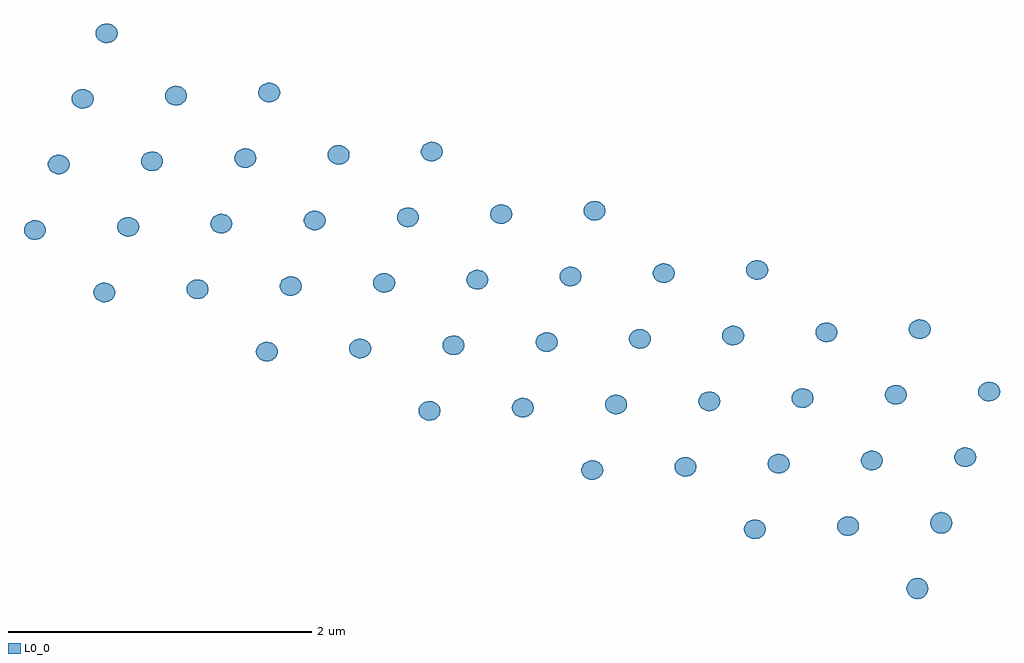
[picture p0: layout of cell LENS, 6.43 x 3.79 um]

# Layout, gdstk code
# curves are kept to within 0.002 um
import gdstk
lib = gdstk.Library(unit=1e-6, precision=1e-09)
def P(c, l, *ps):  # polygons
    for p in ps: c.add(gdstk.Polygon(p, *l))
L0_0 = (0, 0)

circle = lib.new_cell('CIRCLE')
P(circle, L0_0, [(0.072,0),(0.068,0.022),(0.058,0.042),(0.042,0.058),(0.022,0.068),(0,0.072),(-0.022,0.068),(-0.042,0.058),(-0.058,0.042),(-0.068,0.022),(-0.072,0),(-0.068,-0.022),(-0.058,-0.042),(-0.042,-0.058),(-0.022,-0.068),(0,-0.072),(0.022,-0.068),(0.042,-0.058),(0.058,-0.042),(0.068,-0.022)])

oval = lib.new_cell('OVAL')
P(oval, L0_0, [(0.072,0),(0.066,0.026),(0.049,0.047),(0.031,0.058),(0.002,0.064),(-0.027,0.059),(-0.052,0.045),(-0.067,0.023),(-0.072,0.003),(-0.07,-0.016),(-0.052,-0.045),(-0.027,-0.059),(-0.006,-0.064),(0.031,-0.058),(0.049,-0.047),(0.066,-0.026)])

lens = lib.new_cell('LENS')
lens.add(gdstk.Reference(circle, (0,0)))
lens.add(gdstk.Reference(oval, (-1.071,0.39)))
lens.add(gdstk.Reference(oval, (-2.142,0.78)))
lens.add(gdstk.Reference(oval, (-3.214,1.17)))
lens.add(gdstk.Reference(oval, (-4.285,1.56)))
lens.add(gdstk.Reference(oval, (-5.356,1.95)))
lens.add(gdstk.Reference(circle, (0.157,0.432)))
lens.add(gdstk.Reference(oval, (-0.914,0.822)))
lens.add(gdstk.Reference(oval, (-1.985,1.212)))
lens.add(gdstk.Reference(oval, (-3.056,1.602)))
lens.add(gdstk.Reference(oval, (-4.128,1.992)))
lens.add(gdstk.Reference(oval, (-5.199,2.382)))
lens.add(gdstk.Reference(oval, (0.315,0.865)))
lens.add(gdstk.Reference(oval, (-0.757,1.254)))
lens.add(gdstk.Reference(oval, (-1.828,1.644)))
lens.add(gdstk.Reference(oval, (-2.899,2.034)))
lens.add(gdstk.Reference(oval, (-3.97,2.424)))
lens.add(gdstk.Reference(oval, (-5.042,2.814)))
lens.add(gdstk.Reference(oval, (0.472,1.297)))
lens.add(gdstk.Reference(oval, (-0.599,1.687)))
lens.add(gdstk.Reference(oval, (-1.671,2.077)))
lens.add(gdstk.Reference(oval, (-2.742,2.466)))
lens.add(gdstk.Reference(oval, (-3.813,2.856)))
lens.add(gdstk.Reference(oval, (-4.884,3.246)))
lens.add(gdstk.Reference(oval, (-0.457,0.411)))
lens.add(gdstk.Reference(oval, (-1.528,0.801)))
lens.add(gdstk.Reference(oval, (-2.599,1.191)))
lens.add(gdstk.Reference(oval, (-3.671,1.581)))
lens.add(gdstk.Reference(oval, (-4.742,1.971)))
lens.add(gdstk.Reference(oval, (-5.813,2.361)))
lens.add(gdstk.Reference(oval, (-0.3,0.843)))
lens.add(gdstk.Reference(oval, (-1.371,1.233)))
lens.add(gdstk.Reference(oval, (-2.442,1.623)))
lens.add(gdstk.Reference(oval, (-3.513,2.013)))
lens.add(gdstk.Reference(oval, (-4.585,2.403)))
lens.add(gdstk.Reference(oval, (-5.656,2.793)))
lens.add(gdstk.Reference(oval, (-0.142,1.276)))
lens.add(gdstk.Reference(oval, (-1.214,1.666)))
lens.add(gdstk.Reference(oval, (-2.285,2.055)))
lens.add(gdstk.Reference(oval, (-3.356,2.445)))
lens.add(gdstk.Reference(oval, (-4.427,2.835)))
lens.add(gdstk.Reference(oval, (-5.499,3.225)))
lens.add(gdstk.Reference(oval, (0.015,1.708)))
lens.add(gdstk.Reference(oval, (-1.056,2.098)))
lens.add(gdstk.Reference(oval, (-2.127,2.488)))
lens.add(gdstk.Reference(oval, (-3.199,2.878)))
lens.add(gdstk.Reference(oval, (-4.27,3.267)))
lens.add(gdstk.Reference(oval, (-5.341,3.657)))

lib.write_gds('LENS.gds')
